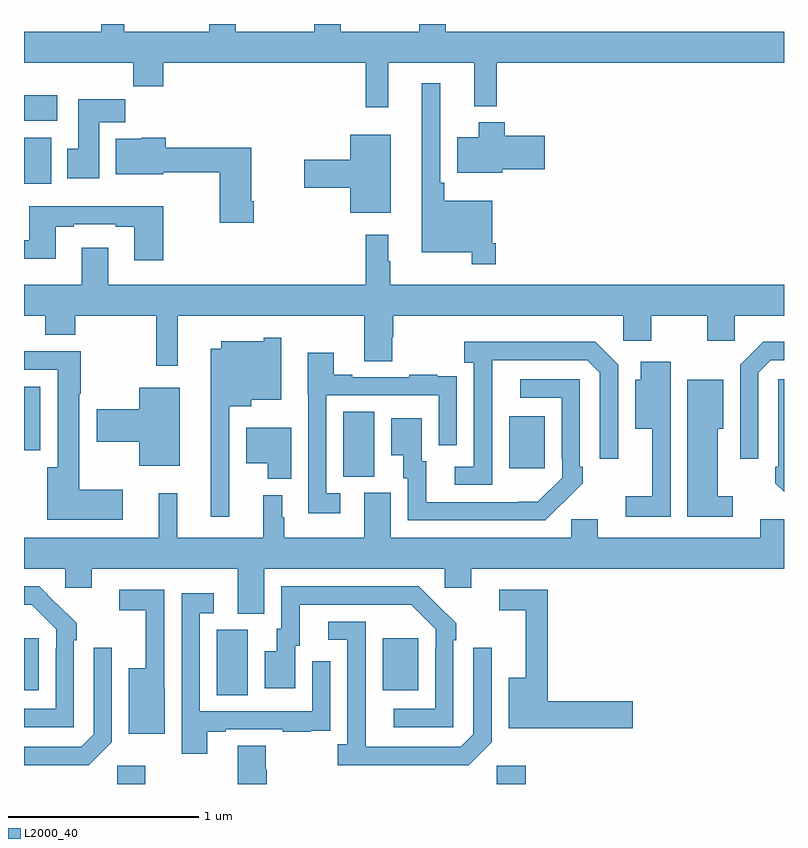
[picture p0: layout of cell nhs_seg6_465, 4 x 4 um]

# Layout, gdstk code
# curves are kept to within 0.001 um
import gdstk
lib = gdstk.Library(unit=1e-6, precision=1e-09)
def R(c, l, rs):  # rectangles x0, y0, x1, y1
    for r in rs: c.add(gdstk.rectangle(r[:2], r[2:], *l))
def P(c, l, *ps):  # polygons
    for p in ps: c.add(gdstk.Polygon(p, *l))
L2000_40 = (2000, 40)

nhs_seg6_465 = lib.new_cell('nhs_seg6_465')
R(nhs_seg6_465, L2000_40, [(137.49,983.5,137.637,983.596), (139.488,983.5,139.64,983.596), (138.014,983.968,138.178,984.312), (137,983.993,137.077,984.268), (138.887,983.993,139.075,984.268), (138.68,985.117,138.844,985.46), (139.553,985.161,139.741,985.435), (137,985.256,137.086,985.591), (137,986.66,137.143,986.902), (137,986.99,137.176,987.124)])
P(nhs_seg6_465, L2000_40, [(138.917,987.296),(139.37,987.296),(139.37,987.068),(139.487,987.068),(139.487,987.296),(141,987.296),(141,987.46),(139.219,987.46),(139.219,987.5),(139.079,987.5),(139.079,987.46),(138.667,987.46),(138.667,987.5),(138.527,987.5),(138.527,987.46),(138.115,987.46),(138.115,987.5),(137.976,987.5),(137.976,987.46),(137.527,987.46),(137.527,987.5),(137.406,987.5),(137.406,987.46),(137,987.46),(137,987.296),(137.575,987.296),(137.575,987.172),(137.732,987.172),(137.732,987.296),(138.799,987.296),(138.799,987.063),(138.917,987.063)],
  [(139.484,986.347),(139.464,986.347),(139.464,986.569),(139.211,986.569),(139.211,986.665),(139.191,986.665),(139.191,987.187),(139.094,987.187),(139.094,986.3),(139.356,986.3),(139.356,986.235),(139.484,986.235)],
  [(137.395,986.984),(137.534,986.984),(137.534,987.103),(137.285,987.103),(137.285,986.844),(137.228,986.844),(137.228,986.688),(137.395,986.688)],
  [(139.516,986.735),(139.741,986.735),(139.741,986.913),(139.529,986.913),(139.529,986.983),(139.394,986.983),(139.394,986.905),(139.28,986.905),(139.28,986.717),(139.516,986.717)],
  [(138.931,986.917),(138.716,986.917),(138.716,986.786),(138.474,986.786),(138.474,986.639),(138.716,986.639),(138.716,986.507),(138.931,986.507)],
  [(138.209,986.566),(138.196,986.566),(138.196,986.848),(137.747,986.848),(137.747,986.902),(137.616,986.902),(137.616,986.896),(137.483,986.896),(137.483,986.708),(137.734,986.708),(137.734,986.719),(138.031,986.719),(138.031,986.454),(138.209,986.454)],
  [(137.732,986.542),(137.027,986.542),(137.027,986.361),(137,986.361),(137,986.264),(137.167,986.264),(137.167,986.433),(137.263,986.433),(137.263,986.445),(137.483,986.445),(137.483,986.433),(137.579,986.433),(137.579,986.256),(137.732,986.256)],
  [(137.808,985.964),(138.791,985.964),(138.791,985.726),(138.939,985.726),(138.939,985.851),(138.944,985.851),(138.944,985.964),(140.154,985.964),(140.154,985.833),(140.301,985.833),(140.301,985.964),(140.596,985.964),(140.596,985.833),(140.742,985.833),(140.742,985.964),(141,985.964),(141,986.128),(138.928,986.128),(138.928,986.252),(138.916,986.252),(138.916,986.392),(138.799,986.392),(138.799,986.128),(137.443,986.128),(137.443,986.323),(137.303,986.323),(137.303,986.128),(137,986.128),(137,985.964),(137.111,985.964),(137.111,985.865),(137.271,985.865),(137.271,985.964),(137.697,985.964),(137.697,985.701),(137.808,985.701)],
  [(138.081,985.487),(138.196,985.487),(138.196,985.523),(138.355,985.523),(138.355,985.849),(138.261,985.849),(138.261,985.831),(138.038,985.831),(138.038,985.792),(137.984,985.792),(137.984,984.906),(138.081,984.906)],
  [(139.464,985.531),(139.465,985.731),(139.965,985.731),(140.031,985.665),(140.031,985.212),(140.127,985.212),(140.127,985.707),(140.006,985.828),(139.317,985.828),(139.317,985.718),(139.368,985.718),(139.368,985.17),(139.266,985.17),(139.266,985.074),(139.464,985.074)],
  [(140.865,985.665),(140.931,985.731),(141,985.731),(141,985.828),(140.89,985.828),(140.769,985.707),(140.769,985.212),(140.865,985.212)],
  [(137.521,985.048),(137.29,985.048),(137.29,985.555),(137.298,985.555),(137.298,985.778),(137,985.778),(137,985.68),(137.177,985.68),(137.177,985.168),(137.123,985.168),(137.123,984.89),(137.521,984.89)],
  [(138.664,985.029),(138.591,985.029),(138.591,985.545),(139.182,985.545),(139.182,985.284),(139.278,985.284),(139.278,985.538),(139.277,985.538),(139.277,985.647),(139.175,985.647),(139.175,985.654),(139.027,985.654),(139.027,985.641),(138.727,985.641),(138.727,985.654),(138.631,985.654),(138.631,985.771),(138.494,985.771),(138.494,985.548),(138.495,985.548),(138.495,984.924),(138.664,984.924)],
  [(140.403,985.474),(140.404,985.474),(140.404,985.723),(140.246,985.723),(140.246,985.627),(140.216,985.627),(140.216,985.37),(140.306,985.37),(140.306,985.015),(140.166,985.015),(140.166,984.906),(140.403,984.906)],
  [(141,985.629),(140.97,985.629),(140.97,985.171),(140.955,985.171),(140.955,985.083),(141,985.038)],
  [(139.835,984.979),(139.836,984.978),(139.941,985.083),(139.941,985.171),(139.926,985.171),(139.926,985.629),(139.611,985.629),(139.611,985.533),(139.83,985.533),(139.83,985.213),(139.833,985.213),(139.833,985.113),(139.705,984.985),(139.117,984.984),(139.117,985.2),(139.093,985.2),(139.093,985.426),(138.932,985.426),(138.932,985.229),(138.995,985.229),(138.995,985.11),(139.02,985.11),(139.02,984.888),(139.744,984.888)],
  [(140.731,985.015),(140.65,985.015),(140.65,985.37),(140.68,985.37),(140.68,985.627),(140.492,985.627),(140.492,984.906),(140.731,984.906)],
  [(137.821,985.585),(137.606,985.585),(137.606,985.472),(137.382,985.472),(137.382,985.301),(137.606,985.301),(137.606,985.175),(137.821,985.175)],
  [(138.406,985.375),(138.17,985.375),(138.17,985.187),(138.284,985.187),(138.284,985.106),(138.406,985.106)],
  [(137.708,985.03),(137.708,984.796),(137,984.796),(137,984.632),(137.217,984.632),(137.217,984.534),(137.356,984.534),(137.356,984.632),(138.125,984.632),(138.125,984.397),(138.265,984.397),(138.265,984.632),(139.215,984.632),(139.215,984.534),(139.354,984.534),(139.354,984.632),(141,984.632),(141,984.894),(140.876,984.894),(140.876,984.796),(140.02,984.796),(140.02,984.894),(139.881,984.894),(139.881,984.796),(138.931,984.796),(138.931,985.032),(138.791,985.032),(138.791,984.796),(138.37,984.796),(138.37,984.903),(138.358,984.903),(138.358,985.021),(138.26,985.021),(138.26,984.796),(137.807,984.796),(137.807,985.03)],
  [(137.262,984.257),(137.277,984.257),(137.277,984.345),(137.08,984.54),(137,984.54),(137,984.444),(137.041,984.444),(137.169,984.315),(137.169,984.215),(137.166,984.215),(137.166,983.895),(137,983.895),(137,983.799),(137.262,983.799)],
  [(139.26,984.257),(139.275,984.257),(139.275,984.345),(139.078,984.54),(138.354,984.54),(138.354,984.318),(138.329,984.318),(138.329,984.199),(138.266,984.199),(138.266,984.003),(138.427,984.003),(138.427,984.228),(138.451,984.228),(138.451,984.444),(139.039,984.444),(139.167,984.315),(139.167,984.215),(139.164,984.215),(139.164,983.895),(138.945,983.895),(138.945,983.799),(139.26,983.799)],
  [(140.203,983.936),(139.757,983.936),(139.757,984.522),(139.5,984.522),(139.5,984.414),(139.64,984.414),(139.64,984.058),(139.55,984.058),(139.55,983.794),(140.203,983.794)],
  [(137.74,984.005),(137.739,984.005),(137.739,984.522),(137.502,984.522),(137.502,984.414),(137.642,984.414),(137.642,984.109),(137.552,984.109),(137.552,983.765),(137.74,983.765)],
  [(137.965,983.775),(138.061,983.775),(138.061,983.787),(138.361,983.787),(138.361,983.775),(138.509,983.775),(138.509,983.781),(138.611,983.781),(138.611,983.89),(138.612,983.89),(138.612,984.145),(138.516,984.145),(138.516,983.883),(137.925,983.883),(137.925,984.399),(137.998,984.399),(137.998,984.505),(137.829,984.505),(137.829,983.658),(137.965,983.658)],
  [(139.461,983.721),(139.461,984.217),(139.365,984.217),(139.365,983.763),(139.299,983.697),(138.799,983.697),(138.798,984.354),(138.6,984.354),(138.6,984.258),(138.702,984.258),(138.702,983.71),(138.651,983.71),(138.651,983.6),(139.34,983.6)],
  [(137.463,983.721),(137.463,984.217),(137.367,984.217),(137.367,983.763),(137.301,983.697),(137,983.697),(137,983.6),(137.342,983.6)],
  [(138.278,983.577),(138.273,983.577),(138.273,983.702),(138.125,983.702),(138.125,983.5),(138.278,983.5)])

lib.write_gds('nhs_seg6_465.gds')
